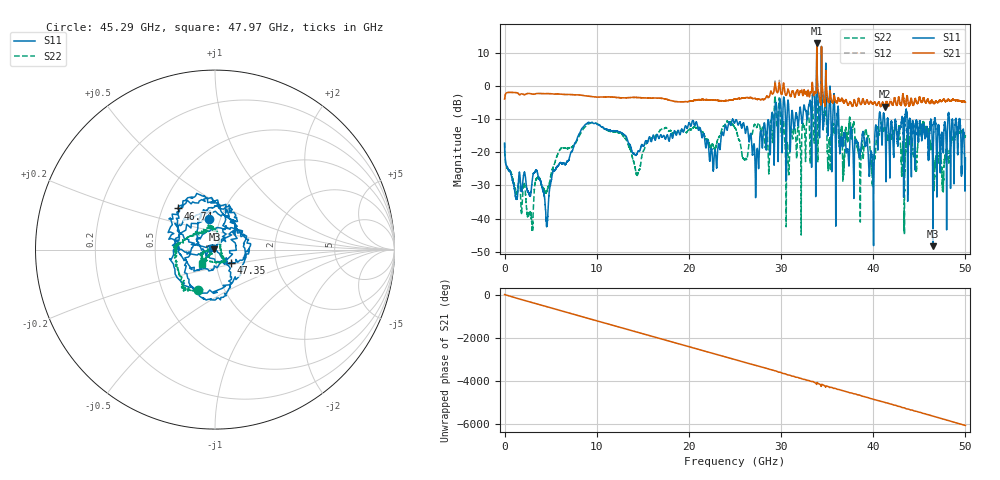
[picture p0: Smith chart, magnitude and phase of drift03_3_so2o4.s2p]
!Created with skrf (http://scikit-rf.org).
# Hz S RI R 50.0
!freq ReS11 ImS11 ReS21 ImS21 ReS12 ImS12 ReS22 ImS22
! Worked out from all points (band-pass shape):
!   10001 points, 300 kHz to 50 GHz, reference 50 ohm
!   highest |S21| = 12.78 dB at 33.88 GHz (marker M1); lowest = -6.3 dB at 41.25 GHz (marker M2)
!   |S21| within 3 dB of the highest: 33.86909 GHz to 33.89172 GHz (22.63 MHz wide, 0.0668 % of centre); 34.37661 GHz to 34.39325 GHz (16.65 MHz wide, 0.0484 % of centre)
!   lowest |S11| = -48.3 dB at 46.47 GHz (marker M3), VSWR 1.01, Z = 49.7 + j0.216 ohm
!   |S11| at or under -10 dB: start of sweep to 28.94 GHz; 36.25 GHz to 40.62 GHz (4.365 GHz wide, 11.4 % of centre); 43.97 GHz to 46.24 GHz (2.268 GHz wide, 5.03 % of centre) (the widest 3 of 45)
!   |S22| runs from -44.9 to 9.1 dB; largest |S21 - S12| = 0.7
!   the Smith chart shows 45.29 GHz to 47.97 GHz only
!   S11 on the Smith chart (normalised r, x): 45.29 GHz: 0.88, +0.31; 46.74 GHz: 0.60, +0.30; 47.35 GHz: 1.19, -0.18; 47.97 GHz: 0.97, +0.02
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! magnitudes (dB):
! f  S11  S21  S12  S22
! 300 kHz  -17.3  -4.0  -4.0  -17.1
! 2.85 GHz  -32.5  -2.4  -2.4  -38.2
! 4.585 GHz  -41.7  -2.3  -2.3  -31.8
! 8.335 GHz  -13.1  -2.9  -2.8  -13.9
! 14.43 GHz  -20.0  -3.5  -3.5  -26.6
! 16.67 GHz  -15.5  -3.7  -3.7  -14.3
! 22.82 GHz  -19.4  -4.3  -4.3  -19.0
! 25 GHz  -11.0  -4.0  -4.0  -12.6
! 27.39 GHz  -19.2  -4.1  -4.1  -12.4
! 29.6 GHz  -10.4  -2.1  -2.1  -11.8
! 30.7 GHz  -5.8  -1.5  -1.6  -17.3
! 33.34 GHz  -13.7  -0.6  -0.7  -7.5
! 33.88 GHz  13.6  12.8  12.4  9.1
! 39.82 GHz  -20.3  -4.9  -4.9  -24.4
! 41.25 GHz  -11.1  -6.3  -6.3  -12.6
! 41.67 GHz  -12.6  -6.1  -6.0  -15.5
! 45.29 GHz  -15.3  -4.9  -5.1  -12.3
! 46.47 GHz  -48.3  -4.9  -4.9  -20.2
! 46.74 GHz  -10.2  -4.8  -4.8  -22.5
! 47.35 GHz  -18.6  -4.7  -4.7  -21.8
! 47.97 GHz  -34.4  -4.5  -4.5  -19.3
! 50 GHz  -21.7  -5.0  -4.9  -15.1
